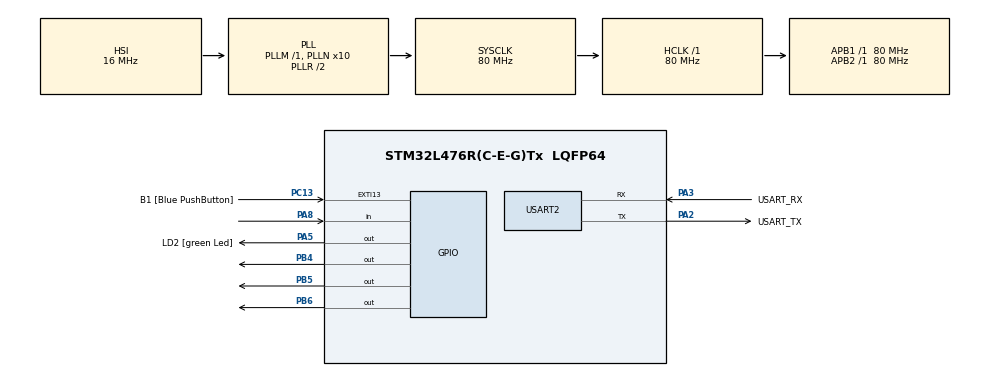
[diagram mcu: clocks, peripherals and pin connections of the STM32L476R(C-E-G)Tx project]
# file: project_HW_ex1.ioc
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Mcu.Family=STM32L4
Mcu.Name=STM32L476R(C-E-G)Tx
Mcu.Package=LQFP64
NVIC.PriorityGroup=NVIC_PRIORITYGROUP_4
PA13\ (JTMS-SWDIO).GPIO_Label=TMS
PA13\ (JTMS-SWDIO).Mode=Serial_Wire
PA13\ (JTMS-SWDIO).Signal=SYS_JTMS-SWDIO
PA14\ (JTCK-SWCLK).GPIO_Label=TCK
PA14\ (JTCK-SWCLK).Mode=Serial_Wire
PA14\ (JTCK-SWCLK).Signal=SYS_JTCK-SWCLK
PA2.GPIO_Label=USART_TX
PA2.GPIO_Mode=GPIO_MODE_AF_PP
PA2.GPIO_PuPd=GPIO_NOPULL
PA2.GPIO_Speed=GPIO_SPEED_FREQ_VERY_HIGH
PA2.Mode=Asynchronous
PA2.Signal=USART2_TX
PA3.GPIO_Label=USART_RX
PA3.GPIO_Mode=GPIO_MODE_AF_PP
PA3.GPIO_PuPd=GPIO_NOPULL
PA3.GPIO_Speed=GPIO_SPEED_FREQ_VERY_HIGH
PA3.Mode=Asynchronous
PA3.Signal=USART2_RX
PA5.GPIO_Label=LD2 [green Led]
PA5.GPIO_ModeDefaultOutputPP=GPIO_MODE_OUTPUT_PP
PA5.GPIO_PuPd=GPIO_NOPULL
PA5.GPIO_Speed=GPIO_SPEED_FREQ_LOW
PA5.Signal=GPIO_Output
PA8.Signal=GPIO_Input
PB3\ (JTDO-TRACESWO).GPIO_Label=SWO
PB3\ (JTDO-TRACESWO).Signal=SYS_JTDO-SWO
PB4\ (NJTRST).Signal=GPIO_Output
PB5.Signal=GPIO_Output
PB6.Signal=GPIO_Output
PC13.GPIO_Label=B1 [Blue PushButton]
PC13.GPIO_ModeDefaultEXTI=GPIO_MODE_IT_FALLING
PC13.GPIO_PuPd=GPIO_NOPULL
PC13.Signal=GPXTI13
PC14-OSC32_IN\ (PC14).Mode=LSE-External-Oscillator
PC14-OSC32_IN\ (PC14).Signal=RCC_OSC32_IN
PC15-OSC32_OUT\ (PC15).Mode=LSE-External-Oscillator
PC15-OSC32_OUT\ (PC15).Signal=RCC_OSC32_OUT
PH0-OSC_IN\ (PH0).Signal=RCC_OSC_IN
PH1-OSC_OUT\ (PH1).Signal=RCC_OSC_OUT
ProjectManager.HeapSize=0x200
ProjectManager.StackSize=0x400
ProjectManager.TargetToolchain=STM32CubeIDE
RCC.ADCFreq_Value=64000000
RCC.AHBFreq_Value=80000000
RCC.APB1Freq_Value=80000000
RCC.APB1TimFreq_Value=80000000
RCC.APB2Freq_Value=80000000
RCC.APB2TimFreq_Value=80000000
RCC.CortexFreq_Value=80000000
RCC.HCLKFreq_Value=80000000
RCC.HSE_VALUE=8000000
RCC.HSI_VALUE=16000000
RCC.MSI_VALUE=4000000
RCC.PLLN=10
RCC.PLLSourceVirtual=RCC_PLLSOURCE_HSI
RCC.PREFETCH_ENABLE=1
RCC.SYSCLKFreq_VALUE=80000000
RCC.SYSCLKSource=RCC_SYSCLKSOURCE_PLLCLK
RCC.USBFreq_Value=64000000
RCC.VCOOutputFreq_Value=160000000
USART2.VirtualMode-Asynchronous=VM_ASYNC
board=NUCLEO-L476RG

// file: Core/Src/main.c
/* USER CODE BEGIN Header */
/**
  ******************************************************************************
  * @file           : main.c
  * @brief          : Main program body
  ******************************************************************************
  * @attention
  *
  * Copyright (c) 2023 STMicroelectronics.
  * All rights reserved.
  *
  * This software is licensed under terms that can be found in the LICENSE file
  * in the root directory of this software component.
  * If no LICENSE file comes with this software, it is provided AS-IS.
  *
  ******************************************************************************
  */
/* USER CODE END Header */
#include "main.h"

UART_HandleTypeDef huart2;

void SystemClock_Config(void);
static void MX_GPIO_Init(void);
static void MX_USART2_UART_Init(void);

int main(void)
{

  /* MCU Configuration--------------------------------------------------------*/

  /* Reset of all peripherals, Initializes the Flash interface and the Systick. */
  HAL_Init();

  /* Configure the system clock */
  SystemClock_Config();

  /* Initialize all configured peripherals */
  MX_GPIO_Init();
  MX_USART2_UART_Init();

  /* Infinite loop */
  /* USER CODE BEGIN WHILE */
  int S = 150;
  int O = 500;
  int j = 0;

  int VERDE = 3000;
  int AMARELO = 700;
  int VERMELHO = 2500;
  while (1)
  {
    /* USER CODE END WHILE */

    /* USER CODE BEGIN 3 */
	if (HAL_GPIO_ReadPin(GPIOA, GPIO_PIN_8) == 0)
	{
		while(1)
		{
	//		HAL_GPIO_WritePin(LD2_GPIO_Port, LD2_Pin, 1);

			HAL_GPIO_WritePin(GPIOB, GPIO_PIN_5, 1);
			HAL_GPIO_WritePin(GPIOB, GPIO_PIN_4, 0);
			HAL_GPIO_WritePin(GPIOB, GPIO_PIN_6, 0);
			HAL_Delay(VERDE);
	//		HAL_GPIO_WritePin(LD2_GPIO_Port, LD2_Pin, 0);

			HAL_GPIO_WritePin(GPIOB, GPIO_PIN_5, 0);
			HAL_GPIO_WritePin(GPIOB, GPIO_PIN_4, 0);
			HAL_GPIO_WritePin(GPIOB, GPIO_PIN_6, 1);
			HAL_Delay(AMARELO);

			HAL_GPIO_WritePin(GPIOB, GPIO_PIN_5, 0);
			HAL_GPIO_WritePin(GPIOB, GPIO_PIN_4, 1);
			HAL_GPIO_WritePin(GPIOB, GPIO_PIN_6, 0);
			HAL_Delay(VERMELHO);
		}

//		while (j < 3)
//		{
//			if ((j == 0) || (j == 2))
//			{
//				for (int index = 0; index < 3; index++)
//				{
//					HAL_GPIO_WritePin(LD2_GPIO_Port, LD2_Pin, 1);
//					HAL_Delay(S);
//					HAL_GPIO_WritePin(LD2_GPIO_Port, LD2_Pin, 0);
//					HAL_Delay(S);
//				}
//			}
//			else
//			{
//				for (int index = 0; index < 3; index++)
//				{
//					HAL_GPIO_WritePin(LD2_GPIO_Port, LD2_Pin, 1);
//					HAL_Delay(O);
//					HAL_GPIO_WritePin(LD2_GPIO_Port, LD2_Pin, 0);
//					HAL_Delay(O);
//				}
//			}
//			j++;
//		}

	}

  }
  /* USER CODE END 3 */
}

void SystemClock_Config(void)
{
  RCC_OscInitTypeDef RCC_OscInitStruct = {0};
  RCC_ClkInitTypeDef RCC_ClkInitStruct = {0};

  /** Configure the main internal regulator output voltage
  */
  if (HAL_PWREx_ControlVoltageScaling(PWR_REGULATOR_VOLTAGE_SCALE1) != HAL_OK)
  {
    Error_Handler();
  }

  /** Initializes the RCC Oscillators according to the specified parameters
  * in the RCC_OscInitTypeDef structure.
  */
  RCC_OscInitStruct.OscillatorType = RCC_OSCILLATORTYPE_HSI;
  RCC_OscInitStruct.HSIState = RCC_HSI_ON;
  RCC_OscInitStruct.HSICalibrationValue = RCC_HSICALIBRATION_DEFAULT;
  RCC_OscInitStruct.PLL.PLLState = RCC_PLL_ON;
  RCC_OscInitStruct.PLL.PLLSource = RCC_PLLSOURCE_HSI;
  RCC_OscInitStruct.PLL.PLLM = 1;
  RCC_OscInitStruct.PLL.PLLN = 10;
  RCC_OscInitStruct.PLL.PLLP = RCC_PLLP_DIV7;
  RCC_OscInitStruct.PLL.PLLQ = RCC_PLLQ_DIV2;
  RCC_OscInitStruct.PLL.PLLR = RCC_PLLR_DIV2;
  if (HAL_RCC_OscConfig(&RCC_OscInitStruct) != HAL_OK)
  {
    Error_Handler();
  }

  /** Initializes the CPU, AHB and APB buses clocks
  */
  RCC_ClkInitStruct.ClockType = RCC_CLOCKTYPE_HCLK|RCC_CLOCKTYPE_SYSCLK
                              |RCC_CLOCKTYPE_PCLK1|RCC_CLOCKTYPE_PCLK2;
  RCC_ClkInitStruct.SYSCLKSource = RCC_SYSCLKSOURCE_PLLCLK;
  RCC_ClkInitStruct.AHBCLKDivider = RCC_SYSCLK_DIV1;
  RCC_ClkInitStruct.APB1CLKDivider = RCC_HCLK_DIV1;
  RCC_ClkInitStruct.APB2CLKDivider = RCC_HCLK_DIV1;

  if (HAL_RCC_ClockConfig(&RCC_ClkInitStruct, FLASH_LATENCY_4) != HAL_OK)
  {
    Error_Handler();
  }
}

static void MX_USART2_UART_Init(void)
{

  huart2.Instance = USART2;
  huart2.Init.BaudRate = 115200;
  huart2.Init.WordLength = UART_WORDLENGTH_8B;
  huart2.Init.StopBits = UART_STOPBITS_1;
  huart2.Init.Parity = UART_PARITY_NONE;
  huart2.Init.Mode = UART_MODE_TX_RX;
  huart2.Init.HwFlowCtl = UART_HWCONTROL_NONE;
  huart2.Init.OverSampling = UART_OVERSAMPLING_16;
  huart2.Init.OneBitSampling = UART_ONE_BIT_SAMPLE_DISABLE;
  huart2.AdvancedInit.AdvFeatureInit = UART_ADVFEATURE_NO_INIT;
  if (HAL_UART_Init(&huart2) != HAL_OK)
  {
    Error_Handler();
  }

}

static void MX_GPIO_Init(void)
{
  GPIO_InitTypeDef GPIO_InitStruct = {0};

  /* GPIO Ports Clock Enable */
  __HAL_RCC_GPIOC_CLK_ENABLE();
  __HAL_RCC_GPIOH_CLK_ENABLE();
  __HAL_RCC_GPIOA_CLK_ENABLE();
  __HAL_RCC_GPIOB_CLK_ENABLE();

  /*Configure GPIO pin Output Level */
  HAL_GPIO_WritePin(LD2_GPIO_Port, LD2_Pin, GPIO_PIN_RESET);

  /*Configure GPIO pin Output Level */
  HAL_GPIO_WritePin(GPIOB, GPIO_PIN_4|GPIO_PIN_5|GPIO_PIN_6, GPIO_PIN_RESET);

  /*Configure GPIO pin : B1_Pin */
  GPIO_InitStruct.Pin = B1_Pin;
  GPIO_InitStruct.Mode = GPIO_MODE_IT_FALLING;
  GPIO_InitStruct.Pull = GPIO_NOPULL;
  HAL_GPIO_Init(B1_GPIO_Port, &GPIO_InitStruct);

  /*Configure GPIO pin : LD2_Pin */
  GPIO_InitStruct.Pin = LD2_Pin;
  GPIO_InitStruct.Mode = GPIO_MODE_OUTPUT_PP;
  GPIO_InitStruct.Pull = GPIO_NOPULL;
  GPIO_InitStruct.Speed = GPIO_SPEED_FREQ_LOW;
  HAL_GPIO_Init(LD2_GPIO_Port, &GPIO_InitStruct);

  /*Configure GPIO pin : PA8 */
  GPIO_InitStruct.Pin = GPIO_PIN_8;
  GPIO_InitStruct.Mode = GPIO_MODE_INPUT;
  GPIO_InitStruct.Pull = GPIO_PULLUP;
  HAL_GPIO_Init(GPIOA, &GPIO_InitStruct);

  /*Configure GPIO pins : PB4 PB5 PB6 */
  GPIO_InitStruct.Pin = GPIO_PIN_4|GPIO_PIN_5|GPIO_PIN_6;
  GPIO_InitStruct.Mode = GPIO_MODE_OUTPUT_PP;
  GPIO_InitStruct.Pull = GPIO_NOPULL;
  GPIO_InitStruct.Speed = GPIO_SPEED_FREQ_LOW;
  HAL_GPIO_Init(GPIOB, &GPIO_InitStruct);

}

void Error_Handler(void)
{
  __disable_irq();
  while (1)
  {
  }
}
